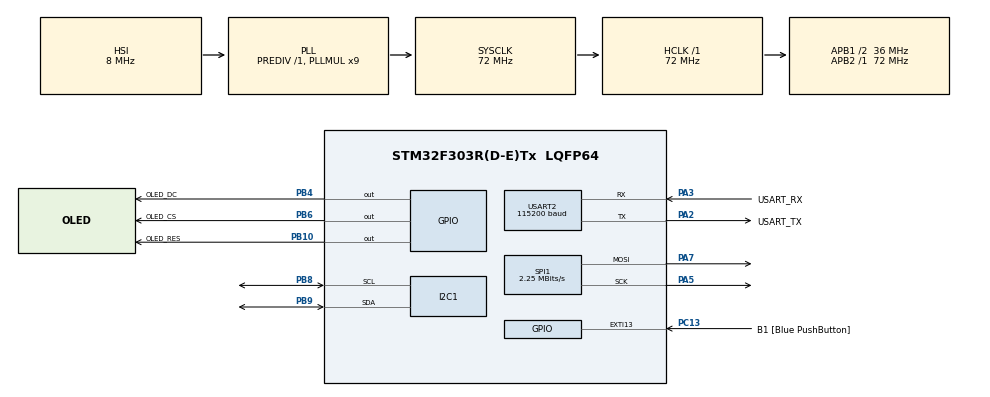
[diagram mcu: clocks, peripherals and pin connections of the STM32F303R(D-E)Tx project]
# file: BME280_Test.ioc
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I2C1.Timing=0x00201D2B
Mcu.Family=STM32F3
Mcu.Name=STM32F303R(D-E)Tx
Mcu.Package=LQFP64
NVIC.PriorityGroup=NVIC_PRIORITYGROUP_0
NVIC.USART2_IRQn=true\:0\:0\:false\:false\:true\:true\:true\:true
PA13.GPIO_Label=TMS
PA13.Mode=Serial_Wire
PA13.Signal=SYS_JTMS-SWDIO
PA14.GPIO_Label=TCK
PA14.Mode=Serial_Wire
PA14.Signal=SYS_JTCK-SWCLK
PA2.GPIO_Label=USART_TX
PA2.GPIO_Mode=GPIO_MODE_AF_PP
PA2.GPIO_PuPd=GPIO_NOPULL
PA2.GPIO_Speed=GPIO_SPEED_FREQ_LOW
PA2.Mode=Asynchronous
PA2.Signal=USART2_TX
PA3.GPIO_Label=USART_RX
PA3.GPIO_Mode=GPIO_MODE_AF_PP
PA3.GPIO_PuPd=GPIO_NOPULL
PA3.GPIO_Speed=GPIO_SPEED_FREQ_LOW
PA3.Mode=Asynchronous
PA3.Signal=USART2_RX
PA5.Mode=TX_Only_Simplex_Unidirect_Master
PA5.Signal=SPI1_SCK
PA7.Mode=TX_Only_Simplex_Unidirect_Master
PA7.Signal=SPI1_MOSI
PB10.GPIO_Label=OLED_RES
PB10.Signal=GPIO_Output
PB3.GPIO_Label=SWO
PB3.Signal=SYS_JTDO-TRACESWO
PB4.GPIO_Label=OLED_DC
PB4.Signal=GPIO_Output
PB6.GPIO_Label=OLED_CS
PB6.Signal=GPIO_Output
PB8.Mode=I2C
PB8.Signal=I2C1_SCL
PB9.Mode=I2C
PB9.Signal=I2C1_SDA
PC13.GPIO_Label=B1 [Blue PushButton]
PC13.GPIO_ModeDefaultEXTI=GPIO_MODE_IT_FALLING
PC13.Signal=GPXTI13
PC14-OSC32_IN.Mode=LSE-External-Oscillator
PC14-OSC32_IN.Signal=RCC_OSC32_IN
PC15-OSC32_OUT.Mode=LSE-External-Oscillator
PC15-OSC32_OUT.Signal=RCC_OSC32_OUT
PF0-OSC_IN.Mode=HSE-External-Clock-Source
PF0-OSC_IN.Signal=RCC_OSC_IN
PF1-OSC_OUT.Signal=RCC_OSC_OUT
ProjectManager.HeapSize=0x200
ProjectManager.StackSize=0x400
ProjectManager.TargetToolchain=STM32CubeIDE
RCC.AHBFreq_Value=72000000
RCC.APB1CLKDivider=RCC_HCLK_DIV2
RCC.APB1Freq_Value=36000000
RCC.APB1TimFreq_Value=72000000
RCC.APB2Freq_Value=72000000
RCC.APB2TimFreq_Value=72000000
RCC.CortexFreq_Value=72000000
RCC.HCLKFreq_Value=72000000
RCC.HSE_VALUE=8000000
RCC.HSI_VALUE=8000000
RCC.PLLM=8
RCC.PLLMUL=RCC_PLL_MUL9
RCC.PLLN=336
RCC.PLLP=RCC_PLLP_DIV4
RCC.PLLQ=7
RCC.RCC_PLLsource_Clock_Source_FROM_HSE=RCC_HSE_PREDIV_DIV2
RCC.SYSCLKFreq_VALUE=72000000
RCC.SYSCLKSourceVirtual=RCC_SYSCLKSOURCE_PLLCLK
RCC.USBFreq_Value=72000000
SPI1.BaudRatePrescaler=SPI_BAUDRATEPRESCALER_32
SPI1.CalculateBaudRate=2.25 MBits/s
SPI1.DataSize=SPI_DATASIZE_8BIT
SPI1.Direction=SPI_DIRECTION_2LINES
SPI1.Mode=SPI_MODE_MASTER
SPI1.VirtualType=VM_MASTER
USART2.BaudRate=115200
USART2.VirtualMode-Asynchronous=VM_ASYNC
board=NUCLEO-F303RE

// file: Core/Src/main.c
/* USER CODE BEGIN Header */
/**
  ******************************************************************************
  * @file           : main.c
  * @brief          : Main program body
  ******************************************************************************
  * @attention
  *
  * Copyright (c) 2026 STMicroelectronics.
  * All rights reserved.
  *
  * This software is licensed under terms that can be found in the LICENSE file
  * in the root directory of this software component.
  * If no LICENSE file comes with this software, it is provided AS-IS.
  *
  ******************************************************************************
  */
/* USER CODE END Header */
#include "main.h" //Generated by CubeMX, and declares your peripheral handles and pin macros (OLED_RES_Pin, B1_Pin, etc.)
#include "oled.h"
#include "console.h"
/* USER CODE BEGIN Includes */
#include <string.h> //buffer handling and command parsing (strlen, strncpy, memset, strcmp)
#include <stdio.h> //used to format numbers into text before sending over UART or drawing on the OLED (snprinf)
#include "bme280.h" //Bosch's vendor-supplied platform-independent driver
#include "sensor.h"
#include "i2c_if.h"
#include "uart_if.h"
/* USER CODE END Includes */

//ST HAL structures representing the configured peripherals
I2C_HandleTypeDef hi2c1;
SPI_HandleTypeDef hspi1;
UART_HandleTypeDef huart2;

/* USER CODE BEGIN PV */
//static struct bme280_dev bme280_device; //Holds calibration data, interface type, and function pointers to my glue code
//static uint8_t bme280_i2c_address = BME280_I2C_ADDR_PRIM; //0x76, SDO pin is tied low
static uint8_t bme280_initialized = 0;

static uint32_t last_sample_time_ms = 0;
static uint32_t sample_interval_ms = 1000;

static uint8_t sample_valid = 0;

#define UART_COMMAND_BUFFER_SIZE 64U //preprocessor macro, longest command is "stream off", U = unsigned int

static volatile uint16_t uart_command_index = 0;
static volatile uint8_t uart_command_ready = 0;

/* UART streaming state */
static uint8_t stream_enabled = 0U; //1 means periodic UART sensor output is enabled.0 means streaming is disabled.
static uint32_t last_stream_time_ms = 0U;//Time of the most recent streamed UART output.
static uint32_t stream_interval_ms = 1000U;//Print one stored sample every 1000 ms while streaming is enabled.

/*Controls how often the OLED is refreshed.The BME280 may still be sampled independently.*/
static uint32_t last_oled_update_ms = 0U;
static uint32_t oled_update_interval_ms = 1000U;
/* USER CODE END PV */

void SystemClock_Config(void);
static void MX_GPIO_Init(void);
static void MX_I2C1_Init(void);
static void MX_USART2_UART_Init(void);
static void MX_SPI1_Init(void);
/* USER CODE BEGIN PFP */
/* USER CODE BEGIN PFP */

static void I2C_Scan(void);
static void BME280_ReadChipID(void);

static void UART_CommandProcess(void);

static void BME280_PrintStoredSample(void);
static void BME280_StreamingProcess(void);
static void PrintSystemStatus(void);
/* application-specific function prototypes */
static void OLED_DisplaySensorData(void);
static void OLED_Process(void);
//static means private, no other source code can call it accidentally

/* USER CODE END PFP */

int main(void)
{

  /* MCU Configuration--------------------------------------------------------*/

  /* USER CODE BEGIN Init */
 /* Reset of all peripherals, Initializes the Flash interface and the Systick. */
	  HAL_Init();

  /* USER CODE END Init */

  /* USER CODE BEGIN SysInit */
 /* Configure the system clock */
	   SystemClock_Config(); //The F303 runs up to 36 MHz; this setup uses the HSI and PLL to reach the system clock used by the project.

  /* Initialize all configured peripherals */
  MX_GPIO_Init();
  MX_I2C1_Init();
  MX_USART2_UART_Init();
  MX_SPI1_Init();
  /* USER CODE END SysInit */

  /* USER CODE BEGIN 2 */
  const char message[] =
      "\r\n"
      "STM32 UART test working\r\n"
      "BME280 project started\r\n";

  UART_IF_Transmit(
      (const uint8_t *)message,
      (uint16_t)strlen(message),
      HAL_MAX_DELAY
  );
  HAL_Delay(100);

  I2C_Scan();

  HAL_Delay(100);
  BME280_ReadChipID();

  HAL_Delay(100);

  if (Sensor_Init() == HAL_OK)
  {
      last_sample_time_ms = HAL_GetTick() - sample_interval_ms;
  }

  Console_Init();

  Console_Print(
      "\r\nUART command reception enabled.\r\n"
      "Type a command and press Enter.\r\n"
  );

  /*
   * Initialize the SPI OLED.
   */
  if (OLED_Init() == HAL_OK)
  {
	  Console_Print("OLED initialized successfully.\r\n");

      //OLED_FillTest(); //First visible OLED test. Turn every pixel on.

      //UART_Print("OLED fill test sent.\r\n");
  }
  else
  {
	  Console_Print("OLED initialization failed.\r\n");
  }  /* USER CODE END 2 */

  /* Infinite loop */
  while (1)
  {

    /* USER CODE BEGIN 3 */

	  Sensor_Process();
      // BME280_DebugPrintProcess();
      UART_CommandProcess(); //Prints stored samples periodically only when stream_enabled is set.

      BME280_StreamingProcess();
      OLED_Process(); //Refresh local OLED display once per second.
  }
  /* USER CODE END 3 */
}

void SystemClock_Config(void)
{
  RCC_OscInitTypeDef RCC_OscInitStruct = {0};
  RCC_ClkInitTypeDef RCC_ClkInitStruct = {0};
  RCC_PeriphCLKInitTypeDef PeriphClkInit = {0};

  /** Initializes the RCC Oscillators according to the specified parameters
  * in the RCC_OscInitTypeDef structure.
  */
  RCC_OscInitStruct.OscillatorType = RCC_OSCILLATORTYPE_HSI;
  RCC_OscInitStruct.HSIState = RCC_HSI_ON;
  RCC_OscInitStruct.HSICalibrationValue = RCC_HSICALIBRATION_DEFAULT;
  RCC_OscInitStruct.PLL.PLLState = RCC_PLL_ON;
  RCC_OscInitStruct.PLL.PLLSource = RCC_PLLSOURCE_HSI;
  RCC_OscInitStruct.PLL.PLLMUL = RCC_PLL_MUL9;
  RCC_OscInitStruct.PLL.PREDIV = RCC_PREDIV_DIV1;
  if (HAL_RCC_OscConfig(&RCC_OscInitStruct) != HAL_OK)
  {
    Error_Handler();
  }

  /** Initializes the CPU, AHB and APB buses clocks
  */
  RCC_ClkInitStruct.ClockType = RCC_CLOCKTYPE_HCLK|RCC_CLOCKTYPE_SYSCLK
                              |RCC_CLOCKTYPE_PCLK1|RCC_CLOCKTYPE_PCLK2;
  RCC_ClkInitStruct.SYSCLKSource = RCC_SYSCLKSOURCE_PLLCLK;
  RCC_ClkInitStruct.AHBCLKDivider = RCC_SYSCLK_DIV1;
  RCC_ClkInitStruct.APB1CLKDivider = RCC_HCLK_DIV2;
  RCC_ClkInitStruct.APB2CLKDivider = RCC_HCLK_DIV1;

  if (HAL_RCC_ClockConfig(&RCC_ClkInitStruct, FLASH_LATENCY_2) != HAL_OK)
  {
    Error_Handler();
  }
  PeriphClkInit.PeriphClockSelection = RCC_PERIPHCLK_USART2|RCC_PERIPHCLK_I2C1;
  PeriphClkInit.Usart2ClockSelection = RCC_USART2CLKSOURCE_PCLK1;
  PeriphClkInit.I2c1ClockSelection = RCC_I2C1CLKSOURCE_HSI;
  if (HAL_RCCEx_PeriphCLKConfig(&PeriphClkInit) != HAL_OK)
  {
    Error_Handler();
  }
}

static void MX_I2C1_Init(void)
{

  hi2c1.Instance = I2C1;
  hi2c1.Init.Timing = 0x00201D2B;
  hi2c1.Init.OwnAddress1 = 0;
  hi2c1.Init.AddressingMode = I2C_ADDRESSINGMODE_7BIT;
  hi2c1.Init.DualAddressMode = I2C_DUALADDRESS_DISABLE;
  hi2c1.Init.OwnAddress2 = 0;
  hi2c1.Init.OwnAddress2Masks = I2C_OA2_NOMASK;
  hi2c1.Init.GeneralCallMode = I2C_GENERALCALL_DISABLE;
  hi2c1.Init.NoStretchMode = I2C_NOSTRETCH_DISABLE;
  if (HAL_I2C_Init(&hi2c1) != HAL_OK)
  {
    Error_Handler();
  }

  /** Configure Analogue filter
  */
  if (HAL_I2CEx_ConfigAnalogFilter(&hi2c1, I2C_ANALOGFILTER_ENABLE) != HAL_OK)
  {
    Error_Handler();
  }

  /** Configure Digital filter
  */
  if (HAL_I2CEx_ConfigDigitalFilter(&hi2c1, 0) != HAL_OK)
  {
    Error_Handler();
  }

}

static void MX_SPI1_Init(void)
{

  /* SPI1 parameter configuration*/
  hspi1.Instance = SPI1;
  hspi1.Init.Mode = SPI_MODE_MASTER;
  hspi1.Init.Direction = SPI_DIRECTION_2LINES;
  hspi1.Init.DataSize = SPI_DATASIZE_8BIT;
  hspi1.Init.CLKPolarity = SPI_POLARITY_LOW;
  hspi1.Init.CLKPhase = SPI_PHASE_1EDGE;
  hspi1.Init.NSS = SPI_NSS_SOFT;
  hspi1.Init.BaudRatePrescaler = SPI_BAUDRATEPRESCALER_32;
  hspi1.Init.FirstBit = SPI_FIRSTBIT_MSB;
  hspi1.Init.TIMode = SPI_TIMODE_DISABLE;
  hspi1.Init.CRCCalculation = SPI_CRCCALCULATION_DISABLE;
  hspi1.Init.CRCPolynomial = 7;
  hspi1.Init.CRCLength = SPI_CRC_LENGTH_DATASIZE;
  hspi1.Init.NSSPMode = SPI_NSS_PULSE_ENABLE;
  if (HAL_SPI_Init(&hspi1) != HAL_OK)
  {
    Error_Handler();
  }

}

static void MX_USART2_UART_Init(void)
{

  huart2.Instance = USART2;
  huart2.Init.BaudRate = 115200;
  huart2.Init.WordLength = UART_WORDLENGTH_8B;
  huart2.Init.StopBits = UART_STOPBITS_1;
  huart2.Init.Parity = UART_PARITY_NONE;
  huart2.Init.Mode = UART_MODE_TX_RX;
  huart2.Init.HwFlowCtl = UART_HWCONTROL_NONE;
  huart2.Init.OverSampling = UART_OVERSAMPLING_16;
  huart2.Init.OneBitSampling = UART_ONE_BIT_SAMPLE_DISABLE;
  huart2.AdvancedInit.AdvFeatureInit = UART_ADVFEATURE_NO_INIT;
  if (HAL_UART_Init(&huart2) != HAL_OK)
  {
    Error_Handler();
  }

}

static void MX_GPIO_Init(void)
{
  GPIO_InitTypeDef GPIO_InitStruct = {0};

  /* GPIO Ports Clock Enable */
  __HAL_RCC_GPIOC_CLK_ENABLE();
  __HAL_RCC_GPIOF_CLK_ENABLE();
  __HAL_RCC_GPIOA_CLK_ENABLE();
  __HAL_RCC_GPIOB_CLK_ENABLE();

  /*Configure GPIO pin Output Level */
  HAL_GPIO_WritePin(GPIOB, OLED_RES_Pin|OLED_DC_Pin|OLED_CS_Pin, GPIO_PIN_RESET);

  /*Configure GPIO pin : B1_Pin */
  GPIO_InitStruct.Pin = B1_Pin;
  GPIO_InitStruct.Mode = GPIO_MODE_IT_FALLING;
  GPIO_InitStruct.Pull = GPIO_NOPULL;
  HAL_GPIO_Init(B1_GPIO_Port, &GPIO_InitStruct);

  /*Configure GPIO pins : OLED_RES_Pin OLED_DC_Pin OLED_CS_Pin */
  GPIO_InitStruct.Pin = OLED_RES_Pin|OLED_DC_Pin|OLED_CS_Pin;
  GPIO_InitStruct.Mode = GPIO_MODE_OUTPUT_PP;
  GPIO_InitStruct.Pull = GPIO_NOPULL;
  GPIO_InitStruct.Speed = GPIO_SPEED_FREQ_LOW;
  HAL_GPIO_Init(GPIOB, &GPIO_InitStruct);

}

/* USER CODE BEGIN 4 */

static void I2C_Scan(void)
{
    char message[64];
    uint8_t devices_found = 0;

    Console_Print("\r\nStarting I2C scan...\r\n");

    for (uint16_t address = 1; address < 128; address++) //loop starts at 1 rather than address 0x00 as that's reserved General Call address
    {
        HAL_StatusTypeDef result;

        result = I2C_IF_IsDeviceReady(
            (uint8_t)address,
            3U,
            20U
        );
// 127 × 3 × 20 ms ≈ 7.6 seconds, slow loop, runs once at boot in the main()
        if (result == HAL_OK)
        {
            snprintf(
                message,
                sizeof(message),
                "Device found at address 0x%02X\r\n",
                address
            );

            Console_Print(message);
            devices_found++;
        }
    }

    if (devices_found == 0)
    {
    	Console_Print("No I2C devices found.\r\n");
    }
    else
    {
        snprintf(
            message,
            sizeof(message),
            "Scan complete. Devices found: %u\r\n",
            devices_found
        );

        Console_Print(message);
    }
}

static void BME280_ReadChipID(void)
{
	const uint8_t bme280_address = 0x76U;
	const uint8_t chip_id_register = 0xD0U; //id register is at 0xD0 and contains 0x60

    uint8_t chip_id = 0;
    char message[64];

    HAL_StatusTypeDef result;

//Talk to device 0x76, then read internal register 0xD0.
    result = I2C_IF_ReadRegister(
            bme280_address,
            chip_id_register,
            &chip_id,
            1U,
            100U // <- timeout ceiling, not a fixed delay
    ); //blocking function

    if (result == HAL_OK)
    {
        snprintf(
            message,
            sizeof(message),
            "BME280 chip ID: 0x%02X\r\n",
            chip_id
        );

        Console_Print(message);

        if (chip_id == 0x60U)
        {
        	Console_Print("Confirmed: BME280 detected.\r\n");
        }
        else
        {
        	Console_Print("Unexpected chip ID.\r\n");
        }
    }
    else
    {
    	Console_Print("Failed to read BME280 chip ID.\r\n");
    }
}

/**
 * @brief Processes one completed UART command.
 *
 * UART reception itself is interrupt-driven.
 * The interrupt collects characters and sets uart_command_ready
 * when the user presses Enter.
 *
 * The actual command processing happens here in the main loop.
 */
static void UART_CommandProcess(void)
{
    char local_command[CONSOLE_COMMAND_BUFFER_SIZE];
    const char *received_command;

    /*
     * No completed command waiting.
     */
    if (Console_CommandReady() == 0U)
    {
        return;
    }

    /*
     * Get the command that was assembled by console.c.
     */
    received_command = Console_GetCommand();

    /*
     * Copy it into a local buffer so main.c can safely process
     * the command even after the console buffer is cleared.
     */
    strncpy(
        local_command,
        received_command,
        sizeof(local_command)
    );

    /*
     * Guarantee a valid C string.
     */
    local_command[sizeof(local_command) - 1U] = '\0';

    /*
     * Tell console.c that this command has been consumed
     * so it can begin collecting the next command.
     */
    Console_ClearCommand();

    /*
     * Compare the received text with the supported commands.
     */
    if (strcmp(local_command, "help") == 0)
    {
        Console_Print(
            "\r\nAvailable commands:\r\n"
            "  help        - Show this command list\r\n"
            "  sensor      - Print the latest stored sensor reading\r\n"
            "  stream on   - Start periodic sensor output\r\n"
            "  stream off  - Stop periodic sensor output\r\n"
            "  status      - Show current application status\r\n"
        );
    }
    else if (strcmp(local_command, "sensor") == 0)
    {
        /*
         * Print the most recently stored BME280 measurement.
         * This does not trigger a new I2C measurement.
         */
        BME280_PrintStoredSample();
    }
    else if (strcmp(local_command, "stream on") == 0)
    {
        /*
         * Enable periodic UART reporting.
         * Sensor sampling is already running independently.
         */
        stream_enabled = 1U;

        /*
         * Make the first streamed value appear immediately.
         */
        last_stream_time_ms =
            HAL_GetTick() - stream_interval_ms;

        Console_Print(
            "\r\nSensor streaming enabled.\r\n"
        );
    }
    else if (strcmp(local_command, "stream off") == 0)
    {
        /*
         * Stop UART reporting only.
         * Sensor_Process() continues reading the sensor
         * at the configured sampling interval.
         */
        stream_enabled = 0U;

        Console_Print(
            "\r\nSensor streaming disabled.\r\n"
        );
    }
    else if (strcmp(local_command, "status") == 0)
    {
        PrintSystemStatus();
    }
    else
    {
        Console_Print("\r\nUnknown command: ");
        Console_Print(local_command);
        Console_Print(
            "\r\nType 'help' for available commands.\r\n"
        );
    }

    /*
     * Prompt for the next command.
     */
    Console_Print("> ");
}

static void BME280_PrintStoredSample(void)
{
    char message[160];
    SensorData data;

    /*
     * A sample is valid only after at least one successful sensor read.
     */
    if (Sensor_HasValidData() == 0U)
    {
    	Console_Print(
            "\r\nSensor reading is not available yet.\r\n"
        );

        return;
    }

    /*
     * Ask the sensor module for the latest values.
     */
    Sensor_GetLatestData(&data);

    /*
     * Convert the stored floating-point values into readable text.
     *
     * SensorData contains:
     * - temperature in degrees Celsius
     * - humidity in percent
     * - pressure in pascals
     *
     * Dividing pressure by 100 converts Pa to hPa.
     */
    snprintf(
        message,
        sizeof(message),
        "\r\n"
        "Temperature: %.2f C\r\n"
        "Humidity: %.2f %%\r\n"
        "Pressure: %.2f hPa\r\n",
        data.temperature,
        data.humidity,
        data.pressure / 100.0f
    );

    Console_Print(message);
}
/**
 * @brief Periodically prints the latest stored sensor reading.
 *
 * Sensor sampling and UART streaming are independent activities.
 *
 * Sampling continues every second even when streaming is disabled.
 * This function only controls periodic UART reporting.
 */

static void BME280_StreamingProcess(void)
{
    /*
     * Do nothing when streaming has not been enabled by the user.
     */
    if (stream_enabled == 0U)
    {
        return;
    }

    /*
     * Do not print until at least one valid measurement exists.
     */
    if (sample_valid == 0U)
    {
        return;
    }

    uint32_t current_time_ms = HAL_GetTick();

    /*
     * Return immediately until the streaming interval has elapsed.
     *
     * This avoids blocking the main loop with HAL_Delay().
     */
    if ((current_time_ms - last_stream_time_ms) < stream_interval_ms)
    {
        return;
    }

    /*
     * Record when this stream output occurred.
     */
    last_stream_time_ms = current_time_ms;

    /*
     * Print the most recently stored sample.
     */
    BME280_PrintStoredSample();
}

/**
 * @brief Prints the current application status.
 */
static void PrintSystemStatus(void)
{
    char message[256];

    const char *sensor_text;
    const char *sample_text;
    const char *stream_text;

    /*
     * Translate internal application state into
     * human-readable strings.
     */
    sensor_text =
        bme280_initialized ? "READY" : "NOT INITIALIZED";

    sample_text =
        sample_valid ? "YES" : "NO";

    stream_text =
        stream_enabled ? "ON" : "OFF";

    snprintf(
        message,
        sizeof(message),
        "\r\n"
        "System status:\r\n"
        "  Sensor: %s\r\n"
        "  Valid sample: %s\r\n"
        "  Sampling interval: %lu ms\r\n"
        "  Streaming: %s\r\n"
        "  Streaming interval: %lu ms\r\n",
        sensor_text,
        sample_text,
        (unsigned long)sample_interval_ms,
        stream_text,
        (unsigned long)stream_interval_ms
    );

    Console_Print(message);
}

/**
 * @brief Builds the environmental monitor screen
 *        using the latest stored BME280 measurement.
 */
static void OLED_DisplaySensorData(void)
{
    char line[24];
    SensorData data;

    /*
     * Don't display measurements until the sensor module
     * has produced at least one valid sample.
     */
    if (Sensor_HasValidData() == 0U)
    {
        OLED_Clear();

        OLED_DrawString(
            10,
            20,
            "NO SENSOR DATA"
        );

        OLED_UpdateScreen();

        return;
    }

    /*
     * Get the latest sensor values from the sensor module.
     */
    Sensor_GetLatestData(&data);

    /*
     * Start with a blank framebuffer.
     */
    OLED_Clear();

    /*
     * Screen title.
     */
    OLED_DrawString(
        25,
        2,
        "ENV MONITOR"
    );

    /*
     * Temperature.
     */
    snprintf(
        line,
        sizeof(line),
        "TEMP: %.1f C",
        data.temperature
    );

    OLED_DrawString(
        5,
        18,
        line
    );

    /*
     * Relative humidity.
     */
    snprintf(
        line,
        sizeof(line),
        "HUM: %.1f %%",
        data.humidity
    );

    OLED_DrawString(
        5,
        30,
        line
    );

    /*
     * Atmospheric pressure.
     * SensorData stores pressure in Pa.
     * Divide by 100 to display hPa.
     */
    snprintf(
        line,
        sizeof(line),
        "PRES: %.0f",
        data.pressure / 100.0f
    );

    OLED_DrawString(
        5,
        42,
        line
    );

    OLED_DrawString(
        80,
        42,
        "HPA"
    );

    /*
     * Push the completed framebuffer to the OLED.
     */
    OLED_UpdateScreen();
}

/**
 * @brief Periodically refreshes the OLED using HAL_GetTick().
 *
 * This follows the same non-blocking scheduling pattern
 * used elsewhere in the application.
 */
static void OLED_Process(void)
{
    uint32_t current_time_ms =
        HAL_GetTick();

    if ((current_time_ms - last_oled_update_ms)
        < oled_update_interval_ms)
    {
        return;
    }

    last_oled_update_ms =
        current_time_ms;

    OLED_DisplaySensorData();
}
/* USER CODE END 4 */

void Error_Handler(void)
{
  __disable_irq();
  while (1)
  {
  }
}
